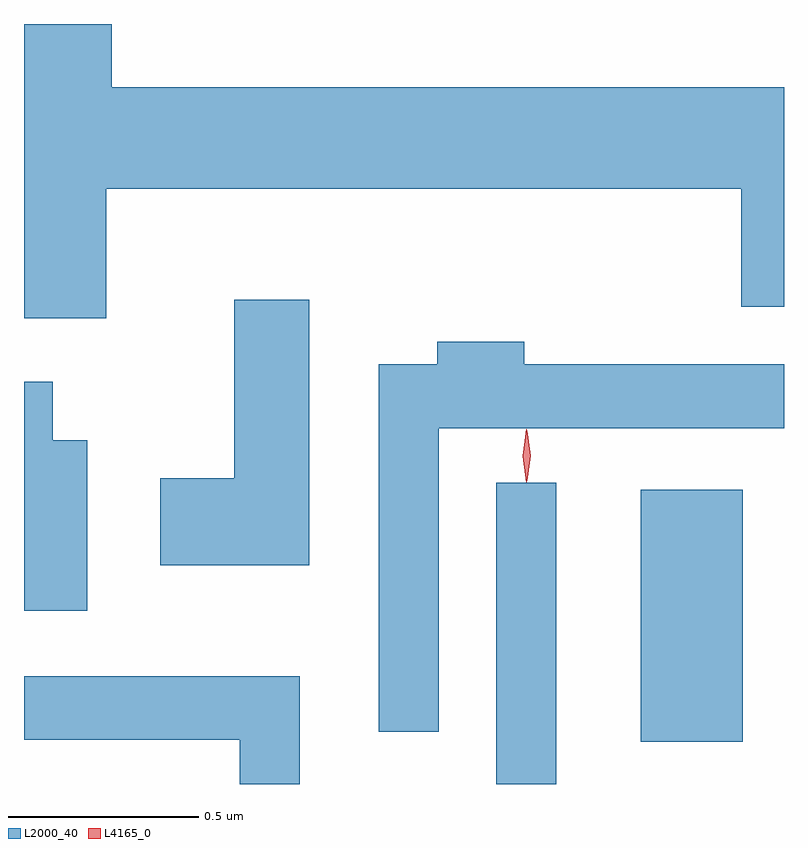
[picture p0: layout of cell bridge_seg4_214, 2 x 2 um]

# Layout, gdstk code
import gdstk
lib = gdstk.Library(unit=1e-6, precision=1e-09)
def R(c, l, rs):  # rectangles x0, y0, x1, y1
    for r in rs: c.add(gdstk.rectangle(r[:2], r[2:], *l))
def P(c, l, *ps):  # polygons
    for p in ps: c.add(gdstk.Polygon(p, *l))
L2000_40 = (2000, 40)
L4165_0 = (4165, 0)

bridge_seg4_214 = lib.new_cell('bridge_seg4_214')
R(bridge_seg4_214, L2000_40, [(1055.516,1306.49,1055.674,1307.283), (1055.896,1306.601,1056.164,1307.264)])
P(bridge_seg4_214, L2000_40, [(1054.489,1308.056),(1056.161,1308.056),(1056.161,1307.746),(1056.273,1307.746),(1056.273,1308.324),(1054.504,1308.324),(1054.504,1308.49),(1054.273,1308.49),(1054.273,1307.716),(1054.489,1307.716)],
  [(1055.024,1307.764),(1054.826,1307.764),(1054.826,1307.294),(1054.631,1307.294),(1054.631,1307.066),(1055.024,1307.066)],
  [(1055.364,1307.426),(1056.273,1307.426),(1056.273,1307.594),(1055.589,1307.594),(1055.589,1307.654),(1055.361,1307.654),(1055.361,1307.594),(1055.206,1307.594),(1055.206,1306.628),(1055.364,1306.628)],
  [(1054.439,1307.394),(1054.349,1307.394),(1054.349,1307.549),(1054.273,1307.549),(1054.273,1306.946),(1054.439,1306.946)],
  [(1054.999,1306.774),(1054.273,1306.774),(1054.273,1306.606),(1054.841,1306.606),(1054.841,1306.49),(1054.999,1306.49)])
P(bridge_seg4_214, L4165_0, [(1055.596,1307.287),(1055.596,1307.288),(1055.586,1307.354),(1055.596,1307.42),(1055.596,1307.421),(1055.597,1307.42),(1055.606,1307.354),(1055.597,1307.288)],
  [(1055.595,1307.284),(1055.595,1307.284),(1055.585,1307.353),(1055.595,1307.423),(1055.595,1307.423),(1055.596,1307.423),(1055.605,1307.353),(1055.596,1307.284)])

lib.write_gds('bridge_seg4_214.gds')
